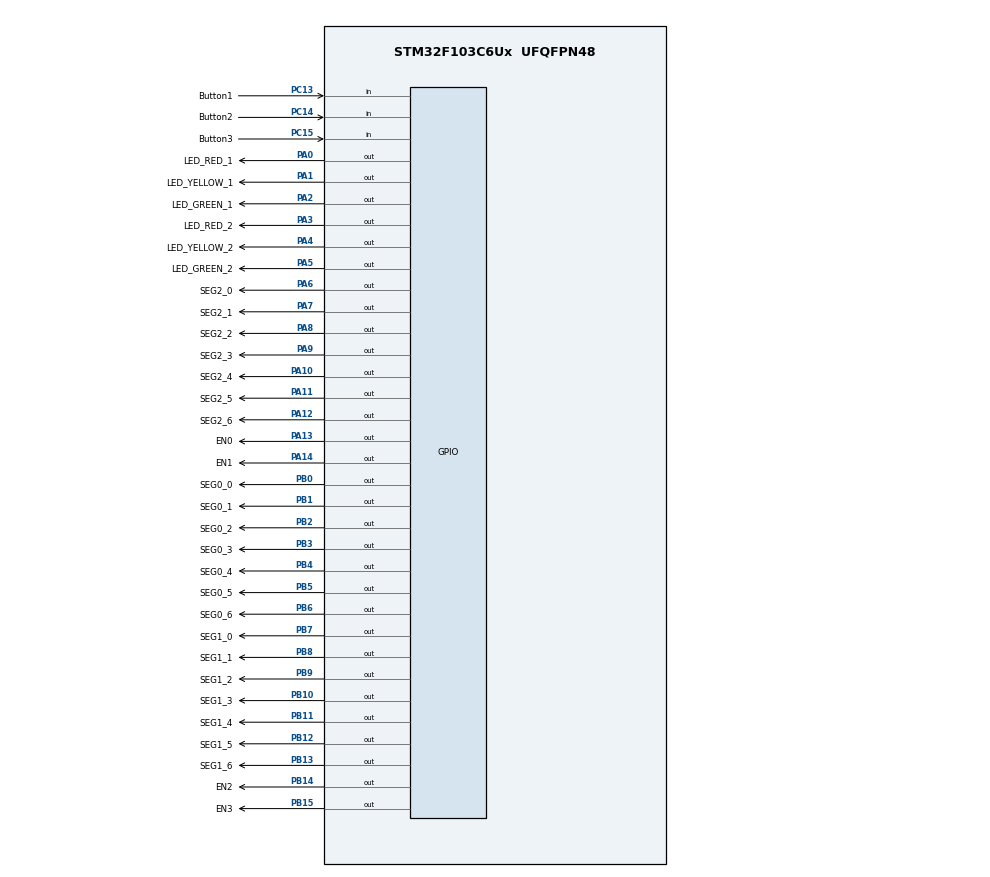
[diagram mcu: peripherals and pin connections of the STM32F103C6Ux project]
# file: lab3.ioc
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Mcu.Family=STM32F1
Mcu.Name=STM32F103C6Ux
Mcu.Package=UFQFPN48
NVIC.PriorityGroup=NVIC_PRIORITYGROUP_4
NVIC.TIM2_IRQn=true\:0\:0\:false\:false\:true\:true\:true
PA0-WKUP.GPIO_Label=LED_RED_1
PA0-WKUP.Signal=GPIO_Output
PA1.GPIO_Label=LED_YELLOW_1
PA1.Signal=GPIO_Output
PA10.GPIO_Label=SEG2_4
PA10.Signal=GPIO_Output
PA11.GPIO_Label=SEG2_5
PA11.Signal=GPIO_Output
PA12.GPIO_Label=SEG2_6
PA12.Signal=GPIO_Output
PA13.GPIO_Label=EN0
PA13.GPIO_PuPd=GPIO_NOPULL
PA13.Signal=GPIO_Output
PA14.GPIO_Label=EN1
PA14.Signal=GPIO_Output
PA2.GPIO_Label=LED_GREEN_1
PA2.Signal=GPIO_Output
PA3.GPIO_Label=LED_RED_2
PA3.Signal=GPIO_Output
PA4.GPIO_Label=LED_YELLOW_2
PA4.Signal=GPIO_Output
PA5.GPIO_Label=LED_GREEN_2
PA5.Signal=GPIO_Output
PA6.GPIO_Label=SEG2_0
PA6.Signal=GPIO_Output
PA7.GPIO_Label=SEG2_1
PA7.Signal=GPIO_Output
PA8.GPIO_Label=SEG2_2
PA8.Signal=GPIO_Output
PA9.GPIO_Label=SEG2_3
PA9.Signal=GPIO_Output
PB0.GPIO_Label=SEG0_0
PB0.Signal=GPIO_Output
PB1.GPIO_Label=SEG0_1
PB1.Signal=GPIO_Output
PB10.GPIO_Label=SEG1_3
PB10.Signal=GPIO_Output
PB11.GPIO_Label=SEG1_4
PB11.Signal=GPIO_Output
PB12.GPIO_Label=SEG1_5
PB12.Signal=GPIO_Output
PB13.GPIO_Label=SEG1_6
PB13.Signal=GPIO_Output
PB14.GPIO_Label=EN2
PB14.Signal=GPIO_Output
PB15.GPIO_Label=EN3
PB15.Signal=GPIO_Output
PB2.GPIO_Label=SEG0_2
PB2.Signal=GPIO_Output
PB3.GPIO_Label=SEG0_3
PB3.Signal=GPIO_Output
PB4.GPIO_Label=SEG0_4
PB4.Signal=GPIO_Output
PB5.GPIO_Label=SEG0_5
PB5.Signal=GPIO_Output
PB6.GPIO_Label=SEG0_6
PB6.Signal=GPIO_Output
PB7.GPIO_Label=SEG1_0
PB7.Signal=GPIO_Output
PB8.GPIO_Label=SEG1_1
PB8.Signal=GPIO_Output
PB9.GPIO_Label=SEG1_2
PB9.Signal=GPIO_Output
PC13-TAMPER-RTC.GPIO_Label=Button1
PC13-TAMPER-RTC.GPIO_PuPd=GPIO_PULLUP
PC13-TAMPER-RTC.Signal=GPIO_Input
PC14-OSC32_IN.GPIO_Label=Button2
PC14-OSC32_IN.GPIO_PuPd=GPIO_PULLUP
PC14-OSC32_IN.Signal=GPIO_Input
PC15-OSC32_OUT.GPIO_Label=Button3
PC15-OSC32_OUT.GPIO_PuPd=GPIO_PULLUP
PC15-OSC32_OUT.Signal=GPIO_Input
ProjectManager.HeapSize=0x200
ProjectManager.StackSize=0x400
ProjectManager.TargetToolchain=STM32CubeIDE
RCC.APB1Freq_Value=8000000
RCC.APB2Freq_Value=8000000
TIM2.Period=9
TIM2.Prescaler=7999
VP_SYS_VS_ND.Mode=No_Debug
VP_TIM2_VS_ClockSourceINT.Mode=Internal
board=custom

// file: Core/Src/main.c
/* USER CODE BEGIN Header */
/**
  ******************************************************************************
  * @file           : main.c
  * @brief          : Main program body
  ******************************************************************************
  * @attention
  *
  * <h2><center>&copy; Copyright (c) 2025 STMicroelectronics.
  * All rights reserved.</center></h2>
  *
  * This software component is licensed by ST under BSD 3-Clause license,
  * the "License"; You may not use this file except in compliance with the
  * License. You may obtain a copy of the License at:
  *                        opensource.org/licenses/BSD-3-Clause
  *
  ******************************************************************************
  */
/* USER CODE END Header */
#include "main.h"

/* USER CODE BEGIN Includes */
#include "button.h"
#include "software_timer.h"
#include "fsm_automatic.h"
#include "trafficlight.h"
/* USER CODE END Includes */

TIM_HandleTypeDef htim2;

void SystemClock_Config(void);
static void MX_GPIO_Init(void);
static void MX_TIM2_Init(void);

int main(void)
{

  /* MCU Configuration--------------------------------------------------------*/

  /* Reset of all peripherals, Initializes the Flash interface and the Systick. */
  HAL_Init();

  /* Configure the system clock */
  SystemClock_Config();

  /* Initialize all configured peripherals */
  MX_GPIO_Init();
  MX_TIM2_Init();
  /* USER CODE BEGIN 2 */
  HAL_TIM_Base_Start_IT(&htim2);
  /* USER CODE END 2 */

  /* Infinite loop */
  /* USER CODE BEGIN WHILE */
  setTimer1(100);
  setTimer2(50);
  mode = 1;
  init();
  while (1)
  {
    /* USER CODE END WHILE */

    /* USER CODE BEGIN 3 */
	  //Select mode
	  fsm_mode();
	  if(isButton1Pressed() == 1){
		  if(mode == 5){
			  mode = 1;
		  }else{
			  mode++;
		  }
	  }
  }
  /* USER CODE END 3 */
}

void SystemClock_Config(void)
{
  RCC_OscInitTypeDef RCC_OscInitStruct = {0};
  RCC_ClkInitTypeDef RCC_ClkInitStruct = {0};

  /** Initializes the RCC Oscillators according to the specified parameters
  * in the RCC_OscInitTypeDef structure.
  */
  RCC_OscInitStruct.OscillatorType = RCC_OSCILLATORTYPE_HSI;
  RCC_OscInitStruct.HSIState = RCC_HSI_ON;
  RCC_OscInitStruct.HSICalibrationValue = RCC_HSICALIBRATION_DEFAULT;
  RCC_OscInitStruct.PLL.PLLState = RCC_PLL_NONE;
  if (HAL_RCC_OscConfig(&RCC_OscInitStruct) != HAL_OK)
  {
    Error_Handler();
  }
  /** Initializes the CPU, AHB and APB buses clocks
  */
  RCC_ClkInitStruct.ClockType = RCC_CLOCKTYPE_HCLK|RCC_CLOCKTYPE_SYSCLK
                              |RCC_CLOCKTYPE_PCLK1|RCC_CLOCKTYPE_PCLK2;
  RCC_ClkInitStruct.SYSCLKSource = RCC_SYSCLKSOURCE_HSI;
  RCC_ClkInitStruct.AHBCLKDivider = RCC_SYSCLK_DIV1;
  RCC_ClkInitStruct.APB1CLKDivider = RCC_HCLK_DIV1;
  RCC_ClkInitStruct.APB2CLKDivider = RCC_HCLK_DIV1;

  if (HAL_RCC_ClockConfig(&RCC_ClkInitStruct, FLASH_LATENCY_0) != HAL_OK)
  {
    Error_Handler();
  }
}

static void MX_TIM2_Init(void)
{

  TIM_ClockConfigTypeDef sClockSourceConfig = {0};
  TIM_MasterConfigTypeDef sMasterConfig = {0};

  htim2.Instance = TIM2;
  htim2.Init.Prescaler = 7999;
  htim2.Init.CounterMode = TIM_COUNTERMODE_UP;
  htim2.Init.Period = 9;
  htim2.Init.ClockDivision = TIM_CLOCKDIVISION_DIV1;
  htim2.Init.AutoReloadPreload = TIM_AUTORELOAD_PRELOAD_DISABLE;
  if (HAL_TIM_Base_Init(&htim2) != HAL_OK)
  {
    Error_Handler();
  }
  sClockSourceConfig.ClockSource = TIM_CLOCKSOURCE_INTERNAL;
  if (HAL_TIM_ConfigClockSource(&htim2, &sClockSourceConfig) != HAL_OK)
  {
    Error_Handler();
  }
  sMasterConfig.MasterOutputTrigger = TIM_TRGO_RESET;
  sMasterConfig.MasterSlaveMode = TIM_MASTERSLAVEMODE_DISABLE;
  if (HAL_TIMEx_MasterConfigSynchronization(&htim2, &sMasterConfig) != HAL_OK)
  {
    Error_Handler();
  }

}

static void MX_GPIO_Init(void)
{
  GPIO_InitTypeDef GPIO_InitStruct = {0};

  /* GPIO Ports Clock Enable */
  __HAL_RCC_GPIOC_CLK_ENABLE();
  __HAL_RCC_GPIOA_CLK_ENABLE();
  __HAL_RCC_GPIOB_CLK_ENABLE();

  /*Configure GPIO pin Output Level */
  HAL_GPIO_WritePin(GPIOA, LED_RED_1_Pin|LED_YELLOW_1_Pin|LED_GREEN_1_Pin|LED_RED_2_Pin
                          |LED_YELLOW_2_Pin|LED_GREEN_2_Pin|SEG2_0_Pin|SEG2_1_Pin
                          |SEG2_2_Pin|SEG2_3_Pin|SEG2_4_Pin|SEG2_5_Pin
                          |SEG2_6_Pin|EN0_Pin|EN1_Pin, GPIO_PIN_RESET);

  /*Configure GPIO pin Output Level */
  HAL_GPIO_WritePin(GPIOB, SEG0_0_Pin|SEG0_1_Pin|SEG0_2_Pin|SEG1_3_Pin
                          |SEG1_4_Pin|SEG1_5_Pin|SEG1_6_Pin|EN2_Pin
                          |EN3_Pin|SEG0_3_Pin|SEG0_4_Pin|SEG0_5_Pin
                          |SEG0_6_Pin|SEG1_0_Pin|SEG1_1_Pin|SEG1_2_Pin, GPIO_PIN_RESET);

  /*Configure GPIO pins : Button1_Pin Button2_Pin Button3_Pin */
  GPIO_InitStruct.Pin = Button1_Pin|Button2_Pin|Button3_Pin;
  GPIO_InitStruct.Mode = GPIO_MODE_INPUT;
  GPIO_InitStruct.Pull = GPIO_PULLUP;
  HAL_GPIO_Init(GPIOC, &GPIO_InitStruct);

  /*Configure GPIO pins : LED_RED_1_Pin LED_YELLOW_1_Pin LED_GREEN_1_Pin LED_RED_2_Pin
                           LED_YELLOW_2_Pin LED_GREEN_2_Pin SEG2_0_Pin SEG2_1_Pin
                           SEG2_2_Pin SEG2_3_Pin SEG2_4_Pin SEG2_5_Pin
                           SEG2_6_Pin EN0_Pin EN1_Pin */
  GPIO_InitStruct.Pin = LED_RED_1_Pin|LED_YELLOW_1_Pin|LED_GREEN_1_Pin|LED_RED_2_Pin
                          |LED_YELLOW_2_Pin|LED_GREEN_2_Pin|SEG2_0_Pin|SEG2_1_Pin
                          |SEG2_2_Pin|SEG2_3_Pin|SEG2_4_Pin|SEG2_5_Pin
                          |SEG2_6_Pin|EN0_Pin|EN1_Pin;
  GPIO_InitStruct.Mode = GPIO_MODE_OUTPUT_PP;
  GPIO_InitStruct.Pull = GPIO_NOPULL;
  GPIO_InitStruct.Speed = GPIO_SPEED_FREQ_LOW;
  HAL_GPIO_Init(GPIOA, &GPIO_InitStruct);

  /*Configure GPIO pins : SEG0_0_Pin SEG0_1_Pin SEG0_2_Pin SEG1_3_Pin
                           SEG1_4_Pin SEG1_5_Pin SEG1_6_Pin EN2_Pin
                           EN3_Pin SEG0_3_Pin SEG0_4_Pin SEG0_5_Pin
                           SEG0_6_Pin SEG1_0_Pin SEG1_1_Pin SEG1_2_Pin */
  GPIO_InitStruct.Pin = SEG0_0_Pin|SEG0_1_Pin|SEG0_2_Pin|SEG1_3_Pin
                          |SEG1_4_Pin|SEG1_5_Pin|SEG1_6_Pin|EN2_Pin
                          |EN3_Pin|SEG0_3_Pin|SEG0_4_Pin|SEG0_5_Pin
                          |SEG0_6_Pin|SEG1_0_Pin|SEG1_1_Pin|SEG1_2_Pin;
  GPIO_InitStruct.Mode = GPIO_MODE_OUTPUT_PP;
  GPIO_InitStruct.Pull = GPIO_NOPULL;
  GPIO_InitStruct.Speed = GPIO_SPEED_FREQ_LOW;
  HAL_GPIO_Init(GPIOB, &GPIO_InitStruct);

}

/* USER CODE BEGIN 4 */
void HAL_TIM_PeriodElapsedCallback(TIM_HandleTypeDef *htim){
	timerRun();
	getKeyInput();
}
/* USER CODE END 4 */

void Error_Handler(void)
{
  __disable_irq();
  while (1)
  {
  }
}

/************************ (C) COPYRIGHT STMicroelectronics *****END OF FILE****/
